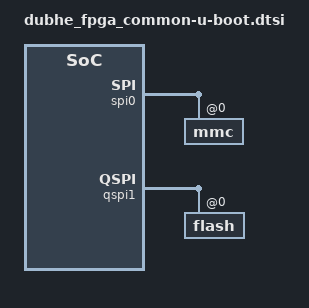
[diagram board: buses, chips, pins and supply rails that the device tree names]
// SPDX-License-Identifier: (GPL-2.0 OR MIT)
/* Copyright (c) 2021 StarFive Technology Co., Ltd. */

/ {

	aliases {
		spi0 = &qspi1;
	};

	chosen {
		stdout-path = "serial0";
		bootph-pre-ram;
	};

	config {
		u-boot,spl-payload-offset = <0x42000>;
		bootph-pre-ram;
	};

	cpus {
		bootph-pre-ram;
		cpu@0 {
			bootph-pre-ram;
		};

		cpu@1 {
			bootph-pre-ram;
		};

		cpu@2 {
			bootph-pre-ram;
		};

		cpu@3 {
			bootph-pre-ram;
		};
	};

	memory@80000000 {
		bootph-pre-ram;
	};

	soc {
		bootph-pre-ram;
		dmc: dmc@10280000 {
			compatible = "starfive,dubhe-ddr";
			reg = <0x0 0x10280000 0x0 0x10000
			       0x0 0x10290000 0x0 0x10000
			       0x0 0x102A0000 0x0 0x10000>;
			clocks = <&pbus_clk>;
			clock-frequency = <25000000>;
			bootph-pre-ram;
		};
	};

	binman: binman	{
		multiple-images;

		uboot_fit {
			filename = "u-boot.itb";

			fit {
				description = "Configuration to load OpenSBI before U-Boot";
				#address-cells = <1>;
				fit,fdt-list = "of-list";

				images {
					uboot {
						description = "U-Boot";
						type = "standalone";
						os = "U-Boot";
						arch = "riscv";
						compression = "none";
						load = <CONFIG_TEXT_BASE>;

						uboot_blob: blob-ext {
							filename = "u-boot-nodtb.bin";
						};
					};

					opensbi {
						description = "OpenSBI fw_dynamic Firmware";
						type = "firmware";
						os = "opensbi";
						arch = "riscv";
						compression = "none";
						load = <CONFIG_SPL_OPENSBI_LOAD_ADDR>;
						entry = <CONFIG_SPL_OPENSBI_LOAD_ADDR>;

						opensbi_blob: opensbi {
							filename = "fw_dynamic.bin";
						};
					};

					fdt-90 {
						description = "U-Boot proper device tree binary";
						type = "flat_dt";
						arch = "riscv";
						compression = "none";
						fdt_90_blob: blob-ext {
							filename = "arch/riscv/dts/dubhe90_fpga.dtb";
						};
					};

					fdt-83 {
						description = "U-Boot proper device tree binary";
						type = "flat_dt";
						arch = "riscv";
						compression = "none";
						fdt_83_blob: blob-ext {
							filename = "arch/riscv/dts/dubhe83_fpga.dtb";
						};
					};

					fdt-80 {
						description = "U-Boot proper device tree binary";
						type = "flat_dt";
						arch = "riscv";
						compression = "none";
						fdt_80_blob: blob-ext {
							filename = "arch/riscv/dts/dubhe80_fpga.dtb";
						};
					};

					fdt-70 {
						description = "U-Boot proper device tree binary";
						type = "flat_dt";
						arch = "riscv";
						compression = "none";
						fdt_70_blob: blob-ext {
							filename = "arch/riscv/dts/dubhe70_fpga.dtb";
						};
					};

					fdt-70a {
						description = "U-Boot proper device tree binary";
						type = "flat_dt";
						arch = "riscv";
						compression = "none";
						fdt_70a_blob: blob-ext {
							filename = "arch/riscv/dts/dubhe70a_fpga.dtbo";
						};
					};

					fdt-70s {
						description = "U-Boot proper device tree binary";
						type = "flat_dt";
						arch = "riscv";
						compression = "none";
						fdt_70s_blob: blob-ext {
							filename = "arch/riscv/dts/dubhe70s_fpga.dtbo";
						};
					};
				};

				configurations {
					default = "conf-90";
					conf-90 {
						description = "conf-90";
						firmware = "opensbi";
						loadables = "uboot";
						fdt = "fdt-90";
					};

					conf-83 {
						description = "conf-83";
						firmware = "opensbi";
						loadables = "uboot";
						fdt = "fdt-83";
					};

					conf-80 {
						description = "conf-80";
						firmware = "opensbi";
						loadables = "uboot";
						fdt = "fdt-80";
					};

					conf-70a {
						description = "conf-70a";
						firmware = "opensbi";
						loadables = "uboot";
						fdt = "fdt-70", "fdt-70a";
					};

					conf-70s {
						description = "conf-70s";
						firmware = "opensbi";
						loadables = "uboot";
						fdt = "fdt-70", "fdt-70s";
					};
				};
			};
		};

		kernel_fit {
			filename = "kernel.itb";

			fit {
				description = "FIT with Linux kernel image, FDT";
				#address-cells = <1>;
				images {
					kernel {
						description = "Linux kernel";
						type = "kernel";
						arch = "riscv";
						os = "linux";
						compression = "none";
						load = /bits/ 64 <0xa1000000>;
						entry = /bits/ 64 <0xa1000000>;
						kernel_blob: blob-ext {
							filename = "Image";
						};
					};

					kernel-fdt-90 {
						description = "Linux kernel device tree binary";
						type = "flat_dt";
						arch = "riscv";
						compression = "none";
						load = /bits/ 64 <0xa0000000>;
						kernel_fdt_90_blob: blob-ext {
							filename = "dubhe90_fpga.dtb";
						};
					};

					kernel-fdt-83 {
						description = "Linux kernel device tree binary";
						type = "flat_dt";
						arch = "riscv";
						compression = "none";
						load = /bits/ 64 <0xa0000000>;
						kernel_fdt_83_blob: blob-ext {
							filename = "dubhe83_fpga.dtb";
						};
					};

					kernel-fdt-80 {
						description = "Linux kernel device tree binary";
						type = "flat_dt";
						arch = "riscv";
						compression = "none";
						load = /bits/ 64 <0xa0000000>;
						kernel_fdt_80_blob: blob-ext {
							filename = "dubhe80_fpga.dtb";
						};
					};

					kernel-fdt-70 {
						description = "Linux kernel device tree binary";
						type = "flat_dt";
						arch = "riscv";
						compression = "none";
						load = /bits/ 64 <0xa0000000>;
						kernel_fdt_70_blob: blob-ext {
							filename = "dubhe70_fpga.dtb";
						};
					};

					kernel-fdt-70a {
						description = "Linux kernel device tree binary";
						type = "flat_dt";
						arch = "riscv";
						compression = "none";
						load = /bits/ 64 <0xa0010000>;
						kernel_fdt_70a_blob: blob-ext {
							filename = "dubhe70a_fpga.dtbo";
						};
					};

					kernel-fdt-70s {
						description = "Linux kernel device tree binary";
						type = "flat_dt";
						arch = "riscv";
						compression = "none";
						load = /bits/ 64 <0xa0010000>;
						kernel_fdt_70s_blob: blob-ext {
							filename = "dubhe70s_fpga.dtbo";
						};
					};
				};

				configurations {
					default = "dubhe-90";
					dubhe-90 {
						description = "Starfive Dubhe-90 FPGA";
						kernel = "kernel";
						fdt = "kernel-fdt-90";
					};

					dubhe-83 {
						description = "Starfive Dubhe-83 FPGA";
						kernel = "kernel";
						fdt = "kernel-fdt-83";
					};

					dubhe-80 {
						description = "Starfive Dubhe-80 FPGA";
						kernel = "kernel";
						fdt = "kernel-fdt-80";
					};

					dubhe-70a {
						description = "Starfive Dubhe-70 AXI FPGA";
						kernel = "kernel";
						fdt = "kernel-fdt-70", "kernel-fdt-70a";
					};

					dubhe-70s {
						description = "Starfive Dubhe-70 StarLink FPGA";
						kernel = "kernel";
						fdt = "kernel-fdt-70", "kernel-fdt-70s";
					};
				};
			};
		};
	};
};

&clint {
	clocks = <&pbus_clk>;
	bootph-pre-ram;
};

&gmac0 {
	mac-address = [de ad be ef de ad];
};

&pbus_clk {
	bootph-pre-ram;
};

&plic0 {
	bootph-pre-ram;
};

&spi0 {
	bootph-pre-ram;

	mmc@0 {
		bootph-pre-ram;
	};
};

&qspi1 {
	bootph-pre-ram;

	flash@0 {
		bootph-pre-ram;
	};
};

&uart0 {
	bootph-pre-ram;
};

&pbus_clk {
	bootph-pre-ram;
};

&cpu0_intc {
	bootph-pre-ram;
};

&cpu1_intc {
	bootph-pre-ram;
};

&cpu2_intc {
	bootph-pre-ram;
};

&cpu3_intc {
	bootph-pre-ram;
};

